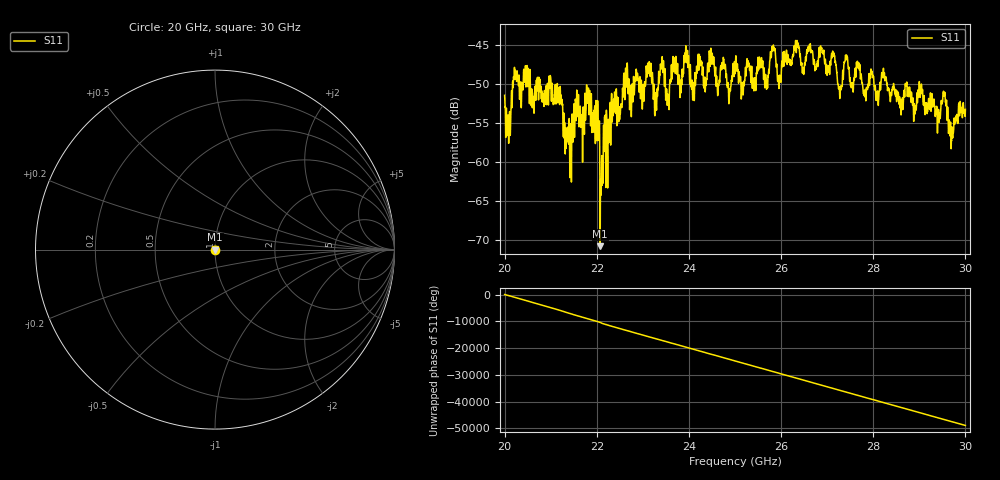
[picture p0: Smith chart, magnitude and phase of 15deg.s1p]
#  HZ  S  RI  R  50.00
! Rohde & Schwarz ZVA40 4Ports - Version 3.90 - 1145.1110k42 SN: 100403
! Date: 2023-10-03 12:44:14
! Measurement: S12
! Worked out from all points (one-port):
!   5001 points, 20 GHz to 30 GHz, reference 50 ohm
!   lowest |S11| = -70.8 dB at 22.07 GHz (marker M1), VSWR 1.00, Z = 50 + j0.0122 ohm
!   |S11| at or under -10 dB: start of sweep to end of sweep
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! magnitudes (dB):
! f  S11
! 20 GHz  -51.5
! 20.09 GHz  -56.2
! 20.24 GHz  -48.5
! 21.25 GHz  -52.5
! 21.4 GHz  -54.7
! 21.81 GHz  -51.2
! 22.01 GHz  -57.2
! 22.07 GHz  -70.8
! 22.36 GHz  -53.6
! 22.5 GHz  -53.8
! 22.63 GHz  -48.0
! 23.14 GHz  -47.2
! 23.27 GHz  -51.3
! 23.41 GHz  -47.5
! 23.54 GHz  -51.9
! 23.75 GHz  -47.6
! 23.94 GHz  -46.9
! 24.09 GHz  -50.1
! 24.49 GHz  -47.3
! 24.87 GHz  -52.0
! 25 GHz  -48.7
! 25.17 GHz  -50.8
! 26.25 GHz  -46.4
! 27.5 GHz  -49.4
! 28.75 GHz  -50.4
! 29.55 GHz  -51.5
! 29.68 GHz  -55.0
! 30 GHz  -53.2
